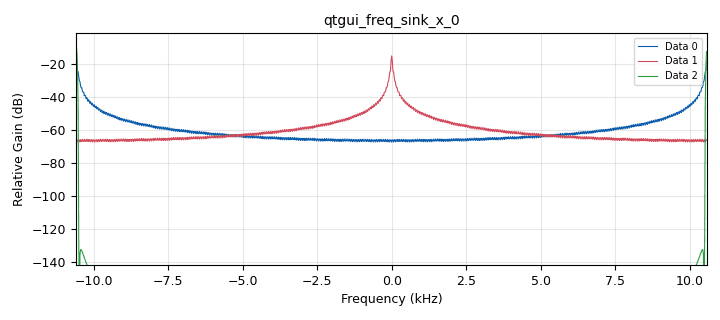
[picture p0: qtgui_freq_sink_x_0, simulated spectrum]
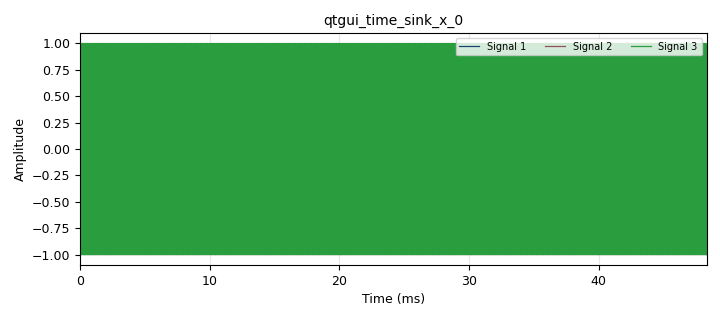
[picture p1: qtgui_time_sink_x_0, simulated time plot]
options:
  parameters:
    author: Valeria y Jorge
    copyright: UIS
    generate_options: qt_gui
    id: MultiplicacionSeñales
    output_language: python
    title: Multiplicacion Señales
  states: {}

blocks:
- name: frecA
  id: variable
  parameters:
    value: 2+1+6+1+9+3+6+2+1+6+10+4+3+6
  states: {}
- name: frecB
  id: variable
  parameters:
    value: 2*1*6*1*9*3*6+2*1*6*10*4*3*6
  states: {}
- name: samp_rate
  id: variable
  parameters:
    value: 2*frecB
  states: {}
- name: CalculoPotencia_0
  id: CalculoPotencia
  parameters:
    I_vect: '1024'
  states: {}
- name: analog_sig_source_x_0
  id: analog_sig_source_x
  parameters:
    amp: '1'
    freq: frecA
    offset: '0'
    phase: '0'
    samp_rate: samp_rate
    type: float
    waveform: analog.GR_SAW_WAVE
  states: {}
- name: analog_sig_source_x_1
  id: analog_sig_source_x
  parameters:
    amp: '1'
    freq: frecB
    offset: '0'
    phase: '0'
    samp_rate: samp_rate
    type: float
    waveform: analog.GR_COS_WAVE
  states: {}
- name: blocks_multiply_xx_0
  id: blocks_multiply_xx
  parameters:
    type: float
  states: {}
- name: blocks_throttle_0
  id: blocks_throttle
  parameters:
    samples_per_second: samp_rate
    type: float
  states: {}
- name: qtgui_freq_sink_x_0
  id: qtgui_freq_sink_x
  parameters:
    autoscale: 'True'
    bw: samp_rate
    fc: '0'
    fftsize: '1024'
    nconnections: '3'
    type: float
  states: {}
- name: qtgui_time_sink_x_0
  id: qtgui_time_sink_x
  parameters:
    autoscale: 'True'
    nconnections: '3'
    size: '1024'
    srate: samp_rate
    type: float
  states: {}

connections:
- [analog_sig_source_x_0, '0', blocks_multiply_xx_0, '0']
- [analog_sig_source_x_0, '0', qtgui_freq_sink_x_0, '1']
- [analog_sig_source_x_0, '0', qtgui_time_sink_x_0, '1']
- [analog_sig_source_x_1, '0', blocks_multiply_xx_0, '1']
- [analog_sig_source_x_1, '0', blocks_throttle_0, '0']
- [analog_sig_source_x_1, '0', qtgui_freq_sink_x_0, '2']
- [blocks_multiply_xx_0, '0', CalculoPotencia_0, '0']
- [blocks_multiply_xx_0, '0', qtgui_freq_sink_x_0, '0']
- [blocks_multiply_xx_0, '0', qtgui_time_sink_x_0, '0']
- [blocks_throttle_0, '0', qtgui_time_sink_x_0, '2']

metadata:
  file_format: 1
